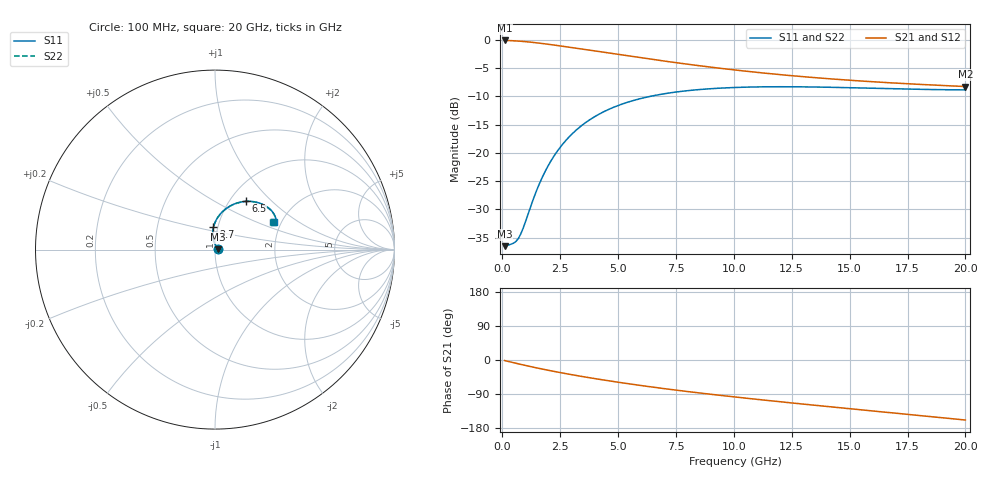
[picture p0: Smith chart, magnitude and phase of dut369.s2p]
! Touchstone file exported from HFSS 2024.1.0
!  File:  C:/UserFiles/LocalFiles/RDL_TSV_Batchsim/temp_RDL_TSV_369_1779642339.aedt
!  Generated:  01:22:23 AM May 25, 2026
!  Design:  RDL_TSV
!  Project:  temp_RDL_TSV_369_1779642339
!  Setup:  Setup1
!  Solution:  Sweep
! Variables:
!  dtsv = 8.11um
!  hbump = 3um
!  htsv = 88.83um
!  ldown = 204.54um
!  lrdl = 325.61um
!  p = 40
!  p1 = 57.87um
!  rhole = 10um
!  subl = 1916.06um
!  t = 450um
!  tdown = 3.46um
!  trdl = 2.79um
!  viad = 10um
!  wdown = 20.99um
!  wrdl = 15.23um
!  xbump = 18um
# GHz S MA R 50.000000
! Terminal data exported
! Port[1] = TM1_1_T1
! Port[2] = TM1_4_T1
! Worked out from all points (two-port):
!   200 points, 100 MHz to 20 GHz, reference 50 ohm
!   highest |S21| = -0.13 dB at 100 MHz (marker M1); lowest = -8.3 dB at 20 GHz (marker M2)
!   |S21| within 3 dB of the highest: start of sweep to 5.888 GHz
!   lowest |S11| = -36.5 dB at 100 MHz (marker M3), VSWR 1.03, Z = 51.5 + j0.215 ohm
!   |S11| at or under -10 dB: start of sweep to 6.409 GHz
!   |S22| runs from -36.5 to -8.3 dB; largest |S21 - S12| = 8.8e-15
!   S11 on the Smith chart (normalised r, x): 100 MHz: 1.03, +0.00; 2.7 GHz: 0.95, +0.24; 6.5 GHz: 1.18, +0.71; 20 GHz: 1.83, +0.64
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0.1  0.01495 8.0  0.9848 -1.5  0.9848 -1.5  0.01495 8.0
! Gamma 0 0 0 0
! Port Impedance 50 0 50 0
0.5  0.01595 39.6  0.978 -7.3  0.978 -7.3  0.01596 39.5
0.7  0.01758 58.2  0.9722 -10.2  0.9722 -10.2  0.01759 58.1
0.9  0.02156 75.5  0.9651 -13.0  0.9651 -13.0  0.02154 75.3
1.3  0.03699 94.8  0.9477 -18.4  0.9477 -18.4  0.03692 94.7
1.5  0.04745 98.4  0.9377 -21.0  0.9377 -21.0  0.04734 98.3
1.8  0.06528 100.0  0.9217 -24.8  0.9217 -24.8  0.06511 99.9
2.2  0.09144 98.4  0.899 -29.7  0.899 -29.7  0.09119 98.3
2.7  0.1256 94.0  0.8699 -35.5  0.8699 -35.5  0.1253 93.9
3.1  0.1527 89.7  0.8465 -39.9  0.8465 -39.9  0.1523 89.7
3.5  0.1788 85.3  0.8234 -44.1  0.8234 -44.1  0.1783 85.3
4.1  0.2151 78.9  0.7896 -50.1  0.7896 -50.1  0.2145 78.8
4.8  0.2523 71.8  0.7518 -56.8  0.7518 -56.8  0.2516 71.8
5.6  0.2877 64.6  0.7111 -64.0  0.7111 -64.0  0.2869 64.5
6.5  0.319 57.4  0.6689 -71.6  0.6689 -71.6  0.3181 57.4
6.8  0.3276 55.3  0.6557 -74.0  0.6557 -74.0  0.3267 55.2
8.4  0.3609 45.5  0.5925 -86.2  0.5925 -86.2  0.3598 45.4
10.1  0.3784 37.6  0.5383 -97.9  0.5383 -97.9  0.3772 37.5
11.7  0.3838 32.1  0.4977 -108.3  0.4977 -108.3  0.3825 32.1
13.4  0.382 28.0  0.4636 -118.9  0.4636 -118.9  0.3807 28.0
16.7  0.3692 24.3  0.4166 -138.7  0.4166 -138.7  0.3678 24.2
20  0.3601 24.9  0.3856 -158.4  0.3856 -158.4  0.3586 24.9
